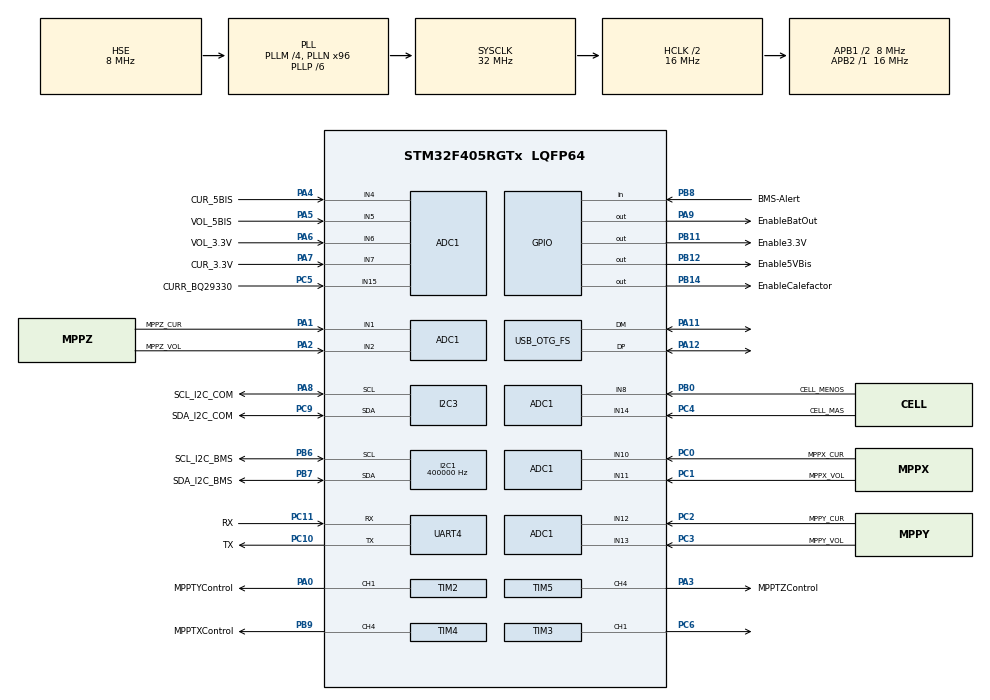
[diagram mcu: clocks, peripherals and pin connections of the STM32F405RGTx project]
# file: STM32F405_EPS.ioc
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ADC1.Channel-0\#ChannelRegularConversion=ADC_CHANNEL_1
ADC1.Channel-13\#ChannelRegularConversion=ADC_CHANNEL_2
ADC1.Channel-14\#ChannelRegularConversion=ADC_CHANNEL_4
ADC1.Channel-15\#ChannelRegularConversion=ADC_CHANNEL_5
ADC1.Channel-16\#ChannelRegularConversion=ADC_CHANNEL_6
ADC1.Channel-17\#ChannelRegularConversion=ADC_CHANNEL_7
ADC1.Channel-18\#ChannelRegularConversion=ADC_CHANNEL_8
ADC1.Channel-19\#ChannelRegularConversion=ADC_CHANNEL_10
ADC1.Channel-20\#ChannelRegularConversion=ADC_CHANNEL_11
ADC1.Channel-21\#ChannelRegularConversion=ADC_CHANNEL_12
ADC1.Channel-22\#ChannelRegularConversion=ADC_CHANNEL_13
ADC1.Channel-23\#ChannelRegularConversion=ADC_CHANNEL_14
ADC1.Channel-24\#ChannelRegularConversion=ADC_CHANNEL_15
ADC1.ContinuousConvMode=ENABLE
ADC1.DMAContinuousRequests=ENABLE
ADC1.DiscontinuousConvMode=DISABLE
ADC1.NbrOfConversion=13
ADC1.NbrOfConversionFlag=1
ADC1.Rank-13\#ChannelRegularConversion=2
ADC1.Rank-14\#ChannelRegularConversion=3
ADC1.Rank-15\#ChannelRegularConversion=4
ADC1.Rank-16\#ChannelRegularConversion=5
ADC1.Rank-17\#ChannelRegularConversion=6
ADC1.Rank-18\#ChannelRegularConversion=7
ADC1.Rank-19\#ChannelRegularConversion=8
ADC1.Rank-20\#ChannelRegularConversion=9
ADC1.Rank-21\#ChannelRegularConversion=10
ADC1.Rank-22\#ChannelRegularConversion=11
ADC1.Rank-23\#ChannelRegularConversion=12
ADC1.Rank-24\#ChannelRegularConversion=13
ADC1.SamplingTime-0\#ChannelRegularConversion=ADC_SAMPLETIME_480CYCLES
ADC1.SamplingTime-13\#ChannelRegularConversion=ADC_SAMPLETIME_480CYCLES
ADC1.SamplingTime-14\#ChannelRegularConversion=ADC_SAMPLETIME_480CYCLES
ADC1.SamplingTime-15\#ChannelRegularConversion=ADC_SAMPLETIME_480CYCLES
ADC1.SamplingTime-16\#ChannelRegularConversion=ADC_SAMPLETIME_480CYCLES
ADC1.SamplingTime-17\#ChannelRegularConversion=ADC_SAMPLETIME_480CYCLES
ADC1.SamplingTime-18\#ChannelRegularConversion=ADC_SAMPLETIME_480CYCLES
ADC1.SamplingTime-19\#ChannelRegularConversion=ADC_SAMPLETIME_480CYCLES
ADC1.SamplingTime-20\#ChannelRegularConversion=ADC_SAMPLETIME_480CYCLES
ADC1.SamplingTime-21\#ChannelRegularConversion=ADC_SAMPLETIME_480CYCLES
ADC1.SamplingTime-22\#ChannelRegularConversion=ADC_SAMPLETIME_480CYCLES
ADC1.SamplingTime-23\#ChannelRegularConversion=ADC_SAMPLETIME_480CYCLES
ADC1.SamplingTime-24\#ChannelRegularConversion=ADC_SAMPLETIME_480CYCLES
ADC1.ScanConvMode=ENABLE
ADC1.master=1
Dma.ADC1.0.Direction=DMA_PERIPH_TO_MEMORY
Dma.ADC1.0.FIFOMode=DMA_FIFOMODE_DISABLE
Dma.ADC1.0.Instance=DMA2_Stream0
Dma.ADC1.0.MemDataAlignment=DMA_MDATAALIGN_HALFWORD
Dma.ADC1.0.MemInc=DMA_MINC_ENABLE
Dma.ADC1.0.Mode=DMA_CIRCULAR
Dma.ADC1.0.PeriphDataAlignment=DMA_PDATAALIGN_HALFWORD
Dma.ADC1.0.PeriphInc=DMA_PINC_DISABLE
Dma.ADC1.0.Priority=DMA_PRIORITY_LOW
Dma.Request0=ADC1
I2C1.ClockSpeed=400000
I2C1.I2C_Mode=I2C_Fast
Mcu.Family=STM32F4
Mcu.Name=STM32F405RGTx
Mcu.Package=LQFP64
NVIC.ADC_IRQn=true\:0\:0\:false\:false\:true\:true\:true\:true
NVIC.DMA2_Stream0_IRQn=true\:0\:0\:false\:false\:true\:false\:true\:true
NVIC.PriorityGroup=NVIC_PRIORITYGROUP_4
PA0-WKUP.GPIO_Label=MPPTYControl
PA0-WKUP.Signal=S_TIM2_CH1_ETR
PA1.GPIO_Label=MPPZ_CUR
PA1.GPIO_Mode=GPIO_MODE_ANALOG
PA1.GPIO_PuPd=GPIO_NOPULL
PA1.Signal=ADCx_IN1
PA11.Mode=Device_Only
PA11.Signal=USB_OTG_FS_DM
PA12.Mode=Device_Only
PA12.Signal=USB_OTG_FS_DP
PA13.GPIO_Label=SWDIO
PA13.Mode=Serial_Wire
PA13.Signal=SYS_JTMS-SWDIO
PA14.GPIO_Label=SWCLK
PA14.Mode=Serial_Wire
PA14.Signal=SYS_JTCK-SWCLK
PA2.GPIO_Label=MPPZ_VOL
PA2.GPIO_Mode=GPIO_MODE_ANALOG
PA2.GPIO_PuPd=GPIO_NOPULL
PA2.Signal=ADCx_IN2
PA3.GPIO_Label=MPPTZControl
PA3.Signal=S_TIM5_CH4
PA4.GPIO_Label=CUR_5BIS
PA4.GPIO_Mode=GPIO_MODE_ANALOG
PA4.GPIO_PuPd=GPIO_NOPULL
PA4.Signal=ADCx_IN4
PA5.GPIO_Label=VOL_5BIS
PA5.GPIO_Mode=GPIO_MODE_ANALOG
PA5.GPIO_PuPd=GPIO_NOPULL
PA5.Signal=ADCx_IN5
PA6.GPIO_Label=VOL_3.3V
PA6.GPIO_Mode=GPIO_MODE_ANALOG
PA6.GPIO_PuPd=GPIO_NOPULL
PA6.Signal=ADCx_IN6
PA7.GPIO_Label=CUR_3.3V
PA7.GPIO_Mode=GPIO_MODE_ANALOG
PA7.GPIO_PuPd=GPIO_NOPULL
PA7.Signal=ADCx_IN7
PA8.GPIO_Label=SCL_I2C_COM
PA8.GPIO_Pu=GPIO_PULLUP
PA8.Mode=I2C
PA8.Signal=I2C3_SCL
PA9.GPIO_Label=EnableBatOut
PA9.GPIO_PuPd=GPIO_PULLUP
PA9.Signal=GPIO_Output
PB0.GPIO_Label=CELL_MENOS
PB0.Signal=ADCx_IN8
PB11.GPIO_Label=Enable3.3V
PB11.GPIO_PuPd=GPIO_PULLUP
PB11.Signal=GPIO_Output
PB12.GPIO_Label=Enable5VBis
PB12.GPIO_PuPd=GPIO_PULLUP
PB12.Signal=GPIO_Output
PB14.GPIO_Label=EnableCalefactor 
PB14.GPIO_PuPd=GPIO_PULLUP
PB14.Signal=GPIO_Output
PB6.GPIO_Label=SCL_I2C_BMS
PB6.GPIO_Mode=GPIO_MODE_AF_OD
PB6.GPIO_Pu=GPIO_NOPULL
PB6.GPIO_Speed=GPIO_SPEED_FREQ_VERY_HIGH
PB6.Mode=I2C
PB6.Signal=I2C1_SCL
PB7.GPIO_Label=SDA_I2C_BMS
PB7.GPIO_Pu=GPIO_NOPULL
PB7.GPIO_Speed=GPIO_SPEED_FREQ_VERY_HIGH
PB7.Mode=I2C
PB7.Signal=I2C1_SDA
PB8.GPIO_Label=BMS-Alert
PB8.GPIO_PuPd=GPIO_PULLUP
PB8.Signal=GPIO_Input
PB9.GPIO_Label=MPPTXControl
PB9.Signal=S_TIM4_CH4
PC0.GPIO_Label=MPPX_CUR
PC0.GPIO_Mode=GPIO_MODE_ANALOG
PC0.GPIO_PuPd=GPIO_NOPULL
PC0.Signal=ADCx_IN10
PC1.GPIO_Label=MPPX_VOL
PC1.GPIO_Mode=GPIO_MODE_ANALOG
PC1.GPIO_PuPd=GPIO_NOPULL
PC1.Signal=ADCx_IN11
PC10.GPIO_Label=TX
PC10.GPIO_PuPd=GPIO_PULLUP
PC10.Mode=Asynchronous
PC10.Signal=UART4_TX
PC11.GPIO_Label=RX
PC11.GPIO_PuPd=GPIO_PULLUP
PC11.Mode=Asynchronous
PC11.Signal=UART4_RX
PC2.GPIO_Label=MPPY_CUR
PC2.GPIO_Mode=GPIO_MODE_ANALOG
PC2.GPIO_PuPd=GPIO_NOPULL
PC2.Signal=ADCx_IN12
PC3.GPIO_Label=MPPY_VOL
PC3.GPIO_Mode=GPIO_MODE_ANALOG
PC3.GPIO_PuPd=GPIO_NOPULL
PC3.Signal=ADCx_IN13
PC4.GPIO_Label=CELL_MAS
PC4.Signal=ADCx_IN14
PC5.GPIO_Label=CURR_BQ29330
PC5.Signal=ADCx_IN15
PC6.Signal=S_TIM3_CH1
PC9.GPIO_Label=SDA_I2C_COM
PC9.GPIO_Pu=GPIO_PULLUP
PC9.Mode=I2C
PC9.Signal=I2C3_SDA
PH0-OSC_IN.Mode=HSE-External-Oscillator
PH0-OSC_IN.Signal=RCC_OSC_IN
PH1-OSC_OUT.Mode=HSE-External-Oscillator
PH1-OSC_OUT.Signal=RCC_OSC_OUT
ProjectManager.HeapSize=0x200
ProjectManager.StackSize=0x400
ProjectManager.TargetToolchain=STM32CubeIDE
RCC.48MHZClocksFreq_Value=48000000
RCC.AHBCLKDivider=RCC_SYSCLK_DIV2
RCC.AHBFreq_Value=16000000
RCC.APB1CLKDivider=RCC_HCLK_DIV2
RCC.APB1Freq_Value=8000000
RCC.APB1TimFreq_Value=16000000
RCC.APB2Freq_Value=16000000
RCC.APB2TimFreq_Value=16000000
RCC.CortexFreq_Value=16000000
RCC.HCLKFreq_Value=16000000
RCC.HSE_VALUE=8000000
RCC.HSI_VALUE=16000000
RCC.LSE_VALUE=32768
RCC.PLLM=4
RCC.PLLN=96
RCC.PLLP=RCC_PLLP_DIV6
RCC.SYSCLKFreq_VALUE=32000000
RCC.SYSCLKSource=RCC_SYSCLKSOURCE_PLLCLK
RCC.VCOOutputFreq_Value=192000000
SH.ADCx_IN1.0=ADC1_IN1,IN1
SH.ADCx_IN10.0=ADC1_IN10,IN10
SH.ADCx_IN11.0=ADC1_IN11,IN11
SH.ADCx_IN12.0=ADC1_IN12,IN12
SH.ADCx_IN13.0=ADC1_IN13,IN13
SH.ADCx_IN14.0=ADC1_IN14,IN14
SH.ADCx_IN15.0=ADC1_IN15,IN15
SH.ADCx_IN2.0=ADC1_IN2,IN2
SH.ADCx_IN4.0=ADC1_IN4,IN4
SH.ADCx_IN5.0=ADC1_IN5,IN5
SH.ADCx_IN6.0=ADC1_IN6,IN6
SH.ADCx_IN7.0=ADC1_IN7,IN7
SH.ADCx_IN8.0=ADC1_IN8,IN8
SH.S_TIM2_CH1_ETR.0=TIM2_CH1,PWM Generation1 CH1
SH.S_TIM3_CH1.0=TIM3_CH1,PWM Generation1 CH1
SH.S_TIM4_CH4.0=TIM4_CH4,PWM Generation4 CH4
SH.S_TIM5_CH4.0=TIM5_CH4,PWM Generation4 CH4
TIM2.Channel-PWM\ Generation1\ CH1=TIM_CHANNEL_1
TIM2.OCFastMode_PWM-PWM\ Generation1\ CH1=TIM_OCFAST_ENABLE
TIM2.Period=80
TIM2.Prescaler=0
TIM3.Channel-PWM\ Generation1\ CH1=TIM_CHANNEL_1
TIM4.Channel-PWM\ Generation4\ CH4=TIM_CHANNEL_4
TIM4.Period=255
TIM4.Prescaler=1
TIM5.Channel-PWM\ Generation4\ CH4=TIM_CHANNEL_4
TIM5.OCFastMode_PWM-PWM\ Generation4\ CH4=TIM_OCFAST_ENABLE
TIM5.Period=255
TIM5.Prescaler=0
UART4.VirtualMode=Asynchronous
USB_OTG_FS.VirtualMode=Device_Only
VP_RTC_VS_RTC_Activate.Mode=RTC_Enabled
board=custom

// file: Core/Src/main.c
/* USER CODE BEGIN Header */
/**
  ******************************************************************************
  * @file           : main.c
  * @brief          : Main program body
  ******************************************************************************
  * @attention
  *
  * Copyright (c) 2025 STMicroelectronics.
  * All rights reserved.
  *
  * This software is licensed under terms that can be found in the LICENSE file
  * in the root directory of this software component.
  * If no LICENSE file comes with this software, it is provided AS-IS.
  *
  ******************************************************************************
  */
/* USER CODE END Header */
#include "main.h"

/* USER CODE BEGIN PM */
#define DELAY 1000

/* USER CODE END PM */

/* USER CODE BEGIN PV */

  typedef enum { false, true } bool;

  uint16_t rawValues[14];

  uint16_t cell_mas =0;
  uint16_t cell_menos = 0;
  uint16_t celdas = 0;
  int32_t totalizadoCoulomb = 0;         // Acumulador de carga
  bool cortoEnclavamientoDSG = false;
  bool cortoEnclavamientoCHG = false;

  BQ29330_Device bq = { .hi2c = &hi2c1 };

  INA219_t ina219;
  uint16_t vbus, vshunt;
  int16_t current = 0;

/* USER CODE END PV */

void SystemClock_Config(void);

/* USER CODE BEGIN 0 */

uint8_t conv_complete = 0;
void HAL_ADC_ConvCpltCallback(ADC_HandleTypeDef* hadc){ conv_complete=1; }
void leer_promediado(MPPT_Channel *mpptZ, PDU_Channel * pdu_V5bis, PDU_Channel * pdu_V3, MPPT_Channel * mpptX, MPPT_Channel * mpptY, uint16_t *cell_mas,uint16_t *cell_menos, int16_t *current);
HAL_StatusTypeDef BMSreadAll();
void sendMSGS(HAL_StatusTypeDef statusI2c);
uint16_t escalar_tension_adc(uint16_t cell_mas,uint16_t cell_menos);
void BMSlogic(uint16_t batery);
void batteryProtection(uint16_t batery);
void status_reset();

/* USER CODE END 0 */

int main(void)
{

  /* MCU Configuration--------------------------------------------------------*/

  /* Reset of all peripherals, Initializes the Flash interface and the Systick. */
  HAL_Init();

  /* Configure the system clock */
  SystemClock_Config();

  /* Initialize all configured peripherals */
  MX_GPIO_Init();
  MX_DMA_Init();
  MX_ADC1_Init();
  MX_I2C3_Init();
  MX_TIM2_Init();
  MX_TIM4_Init();
  MX_TIM5_Init();
  MX_UART4_Init();
  MX_USB_OTG_FS_PCD_Init();
  MX_I2C1_Init();
  MX_RTC_Init();
  MX_TIM3_Init();
  /* USER CODE BEGIN 2 */
  //timer 32Khz
  HAL_TIM_PWM_Start(&htim3, TIM_CHANNEL_1);
  __HAL_TIM_SET_COMPARE(&htim3, TIM_CHANNEL_1, htim3.Init.Period/2);

  //MPPT Variables
  MPPT_Channel mpptX = MPPT_Create("Eje_x", &hadc1, ADC_CHANNEL_11, ADC_CHANNEL_10, &htim4, TIM_CHANNEL_4);
  MPPT_Channel mpptY = MPPT_Create("Eje_y", &hadc1, ADC_CHANNEL_13, ADC_CHANNEL_12, &htim2, TIM_CHANNEL_1);
  MPPT_Channel mpptZ = MPPT_Create("Eje_z", &hadc1, ADC_CHANNEL_2, ADC_CHANNEL_1, &htim5, TIM_CHANNEL_1);

  //PDU Variables
  // PDU_Channel pdu_V5 = PDU_Create("V5", &hadc1, ADC_CHANNEL_14, ADC_CHANNEL_15, GPIOB, GPIO_PIN_2); //no existen mas en el IOC
  PDU_Channel pdu_V5bis = PDU_Create("V5Bis", &hadc1, ADC_CHANNEL_5, ADC_CHANNEL_4, GPIOB, GPIO_PIN_12);
  PDU_Channel pdu_V3 = PDU_Create("V3", &hadc1, ADC_CHANNEL_6, ADC_CHANNEL_7, GPIOB, GPIO_PIN_11);
  //PDU_Channel pdu_V3bis = PDU_Create("V3Bis", &hadc1, ADC_CHANNEL_8, ADC_CHANNEL_9, GPIOB, GPIO_PIN_10);//no existen mas en el IOC
  PDU_Channel pdu_BatOut = PDU_Create("VBatOut", NULL, 0, 0, GPIOA, GPIO_PIN_9);

  // BMS Variables
  //BQ29330_Device bms = { .hi2c = &hi2c1 };

  //ADC Variables
  HAL_ADC_Start_DMA(&hadc1,(uint32_t *) rawValues, 14);

  // INA219
    while(!INA219_Init(&ina219, &hi2c3, INA219_ADDRESS));

    //INA219_Init(&ina219, &hi2c2, INA219_ADDRESS);
    //INA219_setCalibration_32V_2A(&ina219);
    INA219_setCalibration_32V_1A(&ina219);
    //INA219_setCalibration_16V_400mA(&ina219);
    HAL_StatusTypeDef statusI2c = 0x00;

    //escribo al bq
    BMSlogic(celdas);

  /* USER CODE END 2 */

  /* Infinite loop */
  /* USER CODE BEGIN WHILE */
  while (1)
  {

	leer_promediado(&mpptZ, &pdu_V5bis, &pdu_V3, &mpptX, &mpptY, &cell_mas, &cell_menos, &current);
	celdas = escalar_tension_adc(cell_mas, cell_menos);
	totalizadoCoulomb = totalizadoCoulomb + current;

	statusI2c = BMSreadAll();
	//sendMSGS(statusI2c);

	BMSlogic(celdas);

	// Imprimo cosas I2C
	sendUsartMsg("\n \n I LIKE THE WAY YOU WORKING \n", 0);
	//imprimo el bit de alarma del bms
	// sprintf(buffer,"LA alarma esta en %u \n", HAL_GPIO_ReadPin(GPIOB, GPIO_PIN_8));
	//HAL_I2C_Master_Transmit(&hi2c3, ARDUINO_I2C_ADDRESS << 1, (uint8_t*)buffer, strlen(buffer), HAL_MAX_DELAY);

	//5BIS DATOS
	//printPDUData(&pdu_V5bis);
	//3.3 DATOS
	//printPDUData(&pdu_V3);

	//X DATOS
	printMPPTData(&mpptX);
	//Y DATOS
	printMPPTData(&mpptY);
	//Z DATOS
	printMPPTData(&mpptZ);

  	//MPPT
    //updateMPPT(&mpptX);
    //updateMPPT(&mpptY);
    //updateMPPT(&mpptZ);

	//BMS 29330

	//CALENTAMIENTO Y CONTROL DE TEMPERATURA //por ahora prendo un led para debuging
	//MODO BAJO CONSUMO

	HAL_GPIO_WritePin(GPIOB, GPIO_PIN_14, GPIO_PIN_SET);

	HAL_Delay(DELAY);

    /* USER CODE END WHILE */

  }
}

void SystemClock_Config(void)
{
  RCC_OscInitTypeDef RCC_OscInitStruct = {0};
  RCC_ClkInitTypeDef RCC_ClkInitStruct = {0};

  /** Configure the main internal regulator output voltage
  */
  __HAL_RCC_PWR_CLK_ENABLE();
  __HAL_PWR_VOLTAGESCALING_CONFIG(PWR_REGULATOR_VOLTAGE_SCALE1);

  /** Initializes the RCC Oscillators according to the specified parameters
  * in the RCC_OscInitTypeDef structure.
  */
  RCC_OscInitStruct.OscillatorType = RCC_OSCILLATORTYPE_LSI|RCC_OSCILLATORTYPE_HSE;
  RCC_OscInitStruct.HSEState = RCC_HSE_ON;
  RCC_OscInitStruct.LSIState = RCC_LSI_ON;
  RCC_OscInitStruct.PLL.PLLState = RCC_PLL_ON;
  RCC_OscInitStruct.PLL.PLLSource = RCC_PLLSOURCE_HSE;
  RCC_OscInitStruct.PLL.PLLM = 4;
  RCC_OscInitStruct.PLL.PLLN = 96;
  RCC_OscInitStruct.PLL.PLLP = RCC_PLLP_DIV6;
  RCC_OscInitStruct.PLL.PLLQ = 4;
  if (HAL_RCC_OscConfig(&RCC_OscInitStruct) != HAL_OK)
  {
    Error_Handler();
  }

  /** Initializes the CPU, AHB and APB buses clocks
  */
  RCC_ClkInitStruct.ClockType = RCC_CLOCKTYPE_HCLK|RCC_CLOCKTYPE_SYSCLK
                              |RCC_CLOCKTYPE_PCLK1|RCC_CLOCKTYPE_PCLK2;
  RCC_ClkInitStruct.SYSCLKSource = RCC_SYSCLKSOURCE_PLLCLK;
  RCC_ClkInitStruct.AHBCLKDivider = RCC_SYSCLK_DIV2;
  RCC_ClkInitStruct.APB1CLKDivider = RCC_HCLK_DIV2;
  RCC_ClkInitStruct.APB2CLKDivider = RCC_HCLK_DIV1;

  if (HAL_RCC_ClockConfig(&RCC_ClkInitStruct, FLASH_LATENCY_0) != HAL_OK)
  {
    Error_Handler();
  }
}

/* USER CODE BEGIN 4 */

void leer_promediado(MPPT_Channel *mpptZ, PDU_Channel * pdu_V5bis, PDU_Channel * pdu_V3, MPPT_Channel * mpptX, MPPT_Channel * mpptY, uint16_t *cell_mas,uint16_t *cell_menos, int16_t *current) {
	uint32_t cell_mas_total = 0;
	uint32_t cell_menos_total = 0;
	int32_t current_total = 0;

	for(uint8_t i = 0; i < NUM_SAMPLES ; i++) {
	    while(!conv_complete);

		mpptZ->current = rawValues[0];
		mpptZ->voltage = rawValues[1];

		pdu_V5bis->current = rawValues[2];
		pdu_V5bis->voltage = rawValues[3];
		pdu_V3->voltage = rawValues[4];
		pdu_V3->current = rawValues[5];
	    *cell_menos = (uint16_t) rawValues[6];
		//pdu_V3bis->current = rawValues[7]; //basura este no se usa mas

		mpptX->current = rawValues[8];
		mpptX->voltage = rawValues[9];
		mpptY->current = rawValues[10];
		mpptY->voltage = rawValues[11];

	    *cell_mas = (uint16_t) rawValues[12];
		//pdu_V5->current =  rawValues[13]; //basura este no se usa mas

	    *current = INA219_ReadCurrent_raw(&ina219);

	    cell_mas_total += *cell_mas;
	    cell_menos_total += *cell_menos;
	    current_total += *current;
	    conv_complete = 0;
	}

	// Promedio final
	*cell_mas = cell_mas_total / NUM_SAMPLES;
	*cell_menos = cell_menos_total / NUM_SAMPLES;
	*current = current_total / NUM_SAMPLES;
}

/* USER CODE END 4 */

void Error_Handler(void)
{
  __disable_irq();
  while (1)
  {
  }
}
